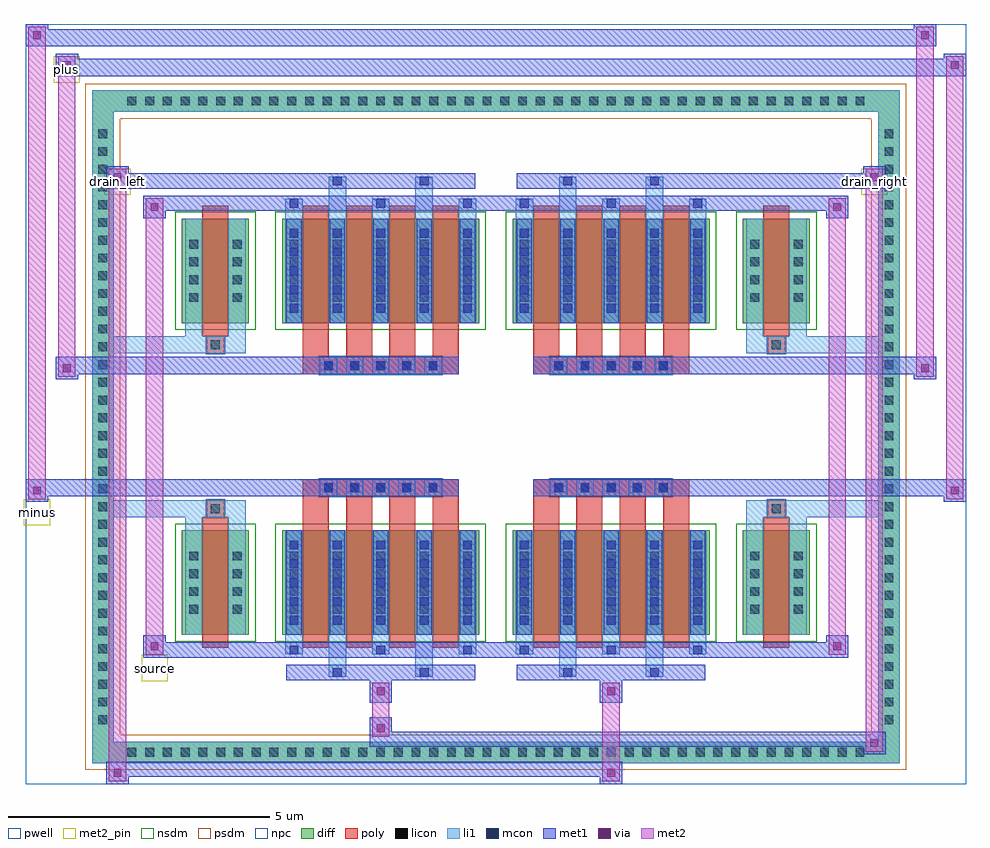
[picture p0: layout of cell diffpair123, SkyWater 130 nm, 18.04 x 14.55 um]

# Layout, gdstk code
import gdstk
lib = gdstk.Library(unit=1e-6, precision=5e-09)
def R(c, l, rs):  # rectangles x0, y0, x1, y1
    for r in rs: c.add(gdstk.rectangle(r[:2], r[2:], *l))
def A(c, l, x, y, w, h, nx, ny, dx, dy):  # array of equal rectangles
    R(c, l, [(x+i*dx, y+j*dy, x+i*dx+w, y+j*dy+h) for i in range(nx) for j in range(ny)])
def P(c, l, *ps):  # polygons
    for p in ps: c.add(gdstk.Polygon(p, *l))
pwell = (64, 44)
diff = (65, 20)
poly = (66, 20)
licon = (66, 44)
li1 = (67, 20)
mcon = (67, 44)
met1 = (68, 20)
via = (68, 44)
met2_pin = (69, 16)
met2 = (69, 20)
nsdm = (93, 44)
psdm = (94, 20)
npc = (95, 20)

diffpair123 = lib.new_cell('diffpair123')
R(diffpair123, pwell, [(-9,-6.84,9,7.71), (-6.32,-5.03,-0.01,-0.805), (0.01,-5.03,6.32,-0.805), (-6.32,0.805,-0.01,5.03), (0.01,0.805,6.32,5.03)])
A(diffpair123, diff, -7.175, -6.44, 0.41, 0.41, 42, 2, 0.34, 12.47)
A(diffpair123, diff, -7.73, -5.815, 0.41, 0.41, 1, 34, 0, 0.34)
A(diffpair123, diff, 7.32, -5.815, 0.41, 0.41, 1, 34, 0, 0.34)
R(diffpair123, diff, [(-7.175,-6.44,7.175,-6.03), (-7.73,-5.815,-7.32,5.815), (7.32,-5.815,7.73,5.815), (-6.01,-3.985,-4.73,-1.985), (-4.09,-3.985,-0.32,-1.985), (0.32,-3.985,4.09,-1.985), (4.73,-3.985,6.01,-1.985), (-6.01,1.985,-4.73,3.985), (-4.09,1.985,-0.32,3.985), (0.32,1.985,4.09,3.985), (4.73,1.985,6.01,3.985), (-7.175,6.03,7.175,6.44)])
P(diffpair123, diff, [(7.73,6.44),(-7.73,6.44),(-7.73,-6.03),(-7.32,-6.03),(-7.32,6.03),(7.32,6.03),(7.32,-6.03),(-7.32,-6.03),(-7.73,-6.03),(-7.73,-6.44),(7.73,-6.44)])
A(diffpair123, poly, -3.7, -4.235, 0.5, 2.5, 4, 2, 0.83, 5.97)
A(diffpair123, poly, 0.71, -4.235, 0.5, 2.5, 4, 2, 0.83, 5.97)
A(diffpair123, poly, -3.7, -1.735, 0.5, 0.4, 4, 2, 0.83, 3.07)
A(diffpair123, poly, 0.71, -1.735, 0.5, 0.4, 4, 2, 0.83, 3.07)
A(diffpair123, poly, -3.37, -1.335, 0.33, 0.33, 5, 2, 0.5, 2.34)
A(diffpair123, poly, 1.04, -1.335, 0.33, 0.33, 5, 2, 0.5, 2.34)
R(diffpair123, poly, [(-5.62,-4.235,-5.12,-1.735), (5.12,-4.235,5.62,-1.735), (-5.535,-1.735,-5.205,-1.405), (-5.535,-1.735,-5.205,-1.405), (5.205,-1.735,5.535,-1.405), (5.205,-1.735,5.535,-1.405), (-3.7,-1.335,-0.71,-1.005), (0.71,-1.335,3.7,-1.005), (-3.7,1.005,-0.71,1.335), (0.71,1.005,3.7,1.335), (-5.535,1.405,-5.205,1.735), (-5.535,1.405,-5.205,1.735), (5.205,1.405,5.535,1.735), (5.205,1.405,5.535,1.735), (-5.62,1.735,-5.12,4.235), (5.12,1.735,5.62,4.235)])
A(diffpair123, licon, -7.055, -6.32, 0.17, 0.17, 42, 2, 0.34, 12.47)
A(diffpair123, licon, -7.61, -5.695, 0.17, 0.17, 1, 34, 0, 0.34)
A(diffpair123, licon, 7.44, -5.695, 0.17, 0.17, 1, 34, 0, 0.34)
A(diffpair123, licon, -5.87, -3.58, 0.17, 0.17, 1, 4, 0, 0.34)
A(diffpair123, licon, -5.04, -3.58, 0.17, 0.17, 1, 4, 0, 0.34)
A(diffpair123, licon, -3.95, -3.58, 0.17, 0.17, 5, 4, 0.83, 0.34)
A(diffpair123, licon, 0.46, -3.58, 0.17, 0.17, 5, 4, 0.83, 0.34)
A(diffpair123, licon, 4.87, -3.58, 0.17, 0.17, 1, 4, 0, 0.34)
A(diffpair123, licon, 5.7, -3.58, 0.17, 0.17, 1, 4, 0, 0.34)
A(diffpair123, licon, -3.29, -1.255, 0.17, 0.17, 5, 2, 0.5, 2.34)
A(diffpair123, licon, 1.12, -1.255, 0.17, 0.17, 5, 2, 0.5, 2.34)
A(diffpair123, licon, -5.87, 2.39, 0.17, 0.17, 1, 4, 0, 0.34)
A(diffpair123, licon, -5.04, 2.39, 0.17, 0.17, 1, 4, 0, 0.34)
A(diffpair123, licon, -3.95, 2.39, 0.17, 0.17, 5, 4, 0.83, 0.34)
A(diffpair123, licon, 0.46, 2.39, 0.17, 0.17, 5, 4, 0.83, 0.34)
A(diffpair123, licon, 4.87, 2.39, 0.17, 0.17, 1, 4, 0, 0.34)
A(diffpair123, licon, 5.7, 2.39, 0.17, 0.17, 1, 4, 0, 0.34)
R(diffpair123, licon, [(-5.455,-1.655,-5.285,-1.485), (5.285,-1.655,5.455,-1.485), (-5.455,1.485,-5.285,1.655), (5.285,1.485,5.455,1.655)])
A(diffpair123, li1, -7.135, -6.4, 0.33, 0.33, 42, 2, 0.34, 12.47)
A(diffpair123, li1, -7.69, -5.775, 0.33, 0.33, 1, 34, 0, 0.34)
A(diffpair123, li1, 7.36, -5.775, 0.33, 0.33, 1, 34, 0, 0.34)
A(diffpair123, li1, -4.03, -4.36, 0.33, 0.375, 3, 2, 1.66, 8.345)
A(diffpair123, li1, -3.95, -4.36, 0.17, 0.17, 3, 2, 1.66, 8.55)
A(diffpair123, li1, 0.38, -4.36, 0.33, 0.375, 3, 2, 1.66, 8.345)
A(diffpair123, li1, 0.46, -4.36, 0.17, 0.17, 3, 2, 1.66, 8.55)
A(diffpair123, li1, -4.03, -3.985, 0.33, 2, 5, 2, 0.83, 5.97)
A(diffpair123, li1, 0.38, -3.985, 0.33, 2, 5, 2, 0.83, 5.97)
A(diffpair123, li1, -3.95, -3.79, 0.17, 0.17, 5, 5, 0.83, 0.36)
A(diffpair123, li1, -3.95, -3.79, 0.17, 1.61, 5, 2, 0.83, 5.97)
A(diffpair123, li1, 0.46, -3.79, 0.17, 0.17, 5, 5, 0.83, 0.36)
A(diffpair123, li1, 0.46, -3.79, 0.17, 1.61, 5, 2, 0.83, 5.97)
A(diffpair123, li1, -5.95, -3.66, 0.33, 0.33, 1, 4, 0, 0.34)
A(diffpair123, li1, -5.12, -3.66, 0.33, 0.33, 1, 4, 0, 0.34)
A(diffpair123, li1, -4.03, -3.66, 0.33, 0.33, 5, 4, 0.83, 0.34)
A(diffpair123, li1, 0.38, -3.66, 0.33, 0.33, 5, 4, 0.83, 0.34)
A(diffpair123, li1, 4.79, -3.66, 0.33, 0.33, 1, 4, 0, 0.34)
A(diffpair123, li1, 5.62, -3.66, 0.33, 0.33, 1, 4, 0, 0.34)
A(diffpair123, li1, -3.37, -1.335, 0.33, 0.33, 5, 2, 0.5, 2.34)
A(diffpair123, li1, 1.04, -1.335, 0.33, 0.33, 5, 2, 0.5, 2.34)
A(diffpair123, li1, -3.95, 2.18, 0.17, 0.17, 5, 5, 0.83, 0.36)
A(diffpair123, li1, 0.46, 2.18, 0.17, 0.17, 5, 5, 0.83, 0.36)
A(diffpair123, li1, -5.95, 2.31, 0.33, 0.33, 1, 4, 0, 0.34)
A(diffpair123, li1, -5.12, 2.31, 0.33, 0.33, 1, 4, 0, 0.34)
A(diffpair123, li1, -4.03, 2.31, 0.33, 0.33, 5, 4, 0.83, 0.34)
A(diffpair123, li1, 0.38, 2.31, 0.33, 0.33, 5, 4, 0.83, 0.34)
A(diffpair123, li1, 4.79, 2.31, 0.33, 0.33, 1, 4, 0, 0.34)
A(diffpair123, li1, 5.62, 2.31, 0.33, 0.33, 1, 4, 0, 0.34)
R(diffpair123, li1, [(-7.73,-6.44,-7.32,-6.03), (-7.73,-6.44,-7.32,-6.03), (-7.32,-6.44,7.32,-6.03), (7.32,-6.44,7.73,-6.03), (7.32,-6.44,7.73,-6.03), (-7.73,-6.03,-7.32,6.03), (7.32,-6.03,7.73,6.03), (-3.2,-4.79,-2.87,-3.985), (-3.12,-4.79,-2.95,-4.62), (-1.54,-4.79,-1.21,-3.985), (-1.46,-4.79,-1.29,-4.62), (1.21,-4.79,1.54,-3.985), (1.29,-4.79,1.46,-4.62), (2.87,-4.79,3.2,-3.985), (2.95,-4.79,3.12,-4.62), (-5.95,-3.985,-5.62,-1.985), (-5.12,-3.985,-4.79,-1.985), (4.79,-3.985,5.12,-1.985), (5.62,-3.985,5.95,-1.985), (-5.95,-1.985,-5.62,-1.405), (-5.12,-1.985,-4.79,-1.405), (4.79,-1.985,5.12,-1.405), (5.62,-1.985,5.95,-1.405), (-7.73,-1.735,-5.535,-1.405), (-5.95,-1.735,-5.535,-1.405), (-5.535,-1.735,-5.205,-1.405), (-5.205,-1.735,-4.79,-1.405), (4.79,-1.735,5.205,-1.405), (5.205,-1.735,5.535,-1.405), (5.205,-1.735,7.73,-1.405), (5.535,-1.735,5.95,-1.405), (-7.73,1.405,-5.535,1.735), (-5.95,1.405,-5.535,1.735), (-5.95,1.405,-5.62,1.985), (-5.535,1.405,-5.205,1.735), (-5.205,1.405,-4.79,1.735), (-5.12,1.405,-4.79,1.985), (4.79,1.405,5.205,1.735), (4.79,1.405,5.12,1.985), (5.205,1.405,5.535,1.735), (5.205,1.405,7.73,1.735), (5.535,1.405,5.95,1.735), (5.62,1.405,5.95,1.985), (-5.95,1.985,-5.62,3.985), (-5.12,1.985,-4.79,3.985), (4.79,1.985,5.12,3.985), (5.62,1.985,5.95,3.985), (-3.2,3.985,-2.87,4.79), (-1.54,3.985,-1.21,4.79), (1.21,3.985,1.54,4.79), (2.87,3.985,3.2,4.79), (-3.12,4.62,-2.95,4.79), (-1.46,4.62,-1.29,4.79), (1.29,4.62,1.46,4.79), (2.95,4.62,3.12,4.79), (-7.73,6.03,-7.32,6.44), (-7.73,6.03,-7.32,6.44), (-7.32,6.03,7.32,6.44), (7.32,6.03,7.73,6.44), (7.32,6.03,7.73,6.44)])
A(diffpair123, mcon, -3.95, -4.36, 0.17, 0.17, 3, 2, 1.66, 8.55)
A(diffpair123, mcon, 0.46, -4.36, 0.17, 0.17, 3, 2, 1.66, 8.55)
A(diffpair123, mcon, -3.95, -3.79, 0.17, 0.17, 5, 5, 0.83, 0.36)
A(diffpair123, mcon, 0.46, -3.79, 0.17, 0.17, 5, 5, 0.83, 0.36)
A(diffpair123, mcon, -3.29, -1.255, 0.17, 0.17, 5, 2, 0.5, 2.34)
A(diffpair123, mcon, 1.12, -1.255, 0.17, 0.17, 5, 2, 0.5, 2.34)
A(diffpair123, mcon, -3.95, 2.18, 0.17, 0.17, 5, 5, 0.83, 0.36)
A(diffpair123, mcon, 0.46, 2.18, 0.17, 0.17, 5, 5, 0.83, 0.36)
R(diffpair123, mcon, [(-3.12,-4.79,-2.95,-4.62), (-1.46,-4.79,-1.29,-4.62), (1.29,-4.79,1.46,-4.62), (2.95,-4.79,3.12,-4.62), (-3.12,4.62,-2.95,4.79), (-1.46,4.62,-1.29,4.79), (1.29,4.62,1.46,4.79), (2.95,4.62,3.12,4.79)])
A(diffpair123, met1, -4.01, -4.42, 0.29, 0.29, 3, 2, 1.66, 8.55)
A(diffpair123, met1, 0.4, -4.42, 0.29, 0.29, 3, 2, 1.66, 8.55)
A(diffpair123, met1, -4.01, -3.985, 0.29, 2, 5, 2, 0.83, 5.97)
A(diffpair123, met1, 0.4, -3.985, 0.29, 2, 5, 2, 0.83, 5.97)
A(diffpair123, met1, -4.01, -3.85, 0.29, 0.29, 5, 5, 0.83, 0.36)
A(diffpair123, met1, 0.4, -3.85, 0.29, 0.29, 5, 5, 0.83, 0.36)
A(diffpair123, met1, -3.35, -1.315, 0.29, 0.29, 5, 2, 0.5, 2.34)
A(diffpair123, met1, 1.06, -1.315, 0.29, 0.29, 5, 2, 0.5, 2.34)
A(diffpair123, met1, -4.01, 2.12, 0.29, 0.29, 5, 5, 0.83, 0.36)
A(diffpair123, met1, 0.4, 2.12, 0.29, 0.29, 5, 5, 0.83, 0.36)
R(diffpair123, met1, [(-7.46,-6.84,-7.03,-6.41), (1.99,-6.84,2.42,-6.41), (-7.46,-6.7,2.42,-6.41), (7.03,-6.27,7.46,-5.84), (-2.42,-6.13,7.46,-5.84), (-2.42,-5.99,-1.99,-5.56), (-2.42,-5.28,-1.99,-4.85), (1.99,-5.28,2.42,-4.85), (-4.01,-4.85,-0.4,-4.56), (-3.18,-4.85,-2.89,-4.56), (-1.52,-4.85,-1.23,-4.56), (0.4,-4.85,4.01,-4.56), (1.23,-4.85,1.52,-4.56), (2.89,-4.85,3.18,-4.56), (-6.75,-4.42,-6.32,-3.99), (-6.75,-4.42,-4.01,-4.13), (-4.01,-4.42,-0.4,-4.13), (-0.4,-4.42,0.4,-4.13), (0.4,-4.42,4.01,-4.13), (4.01,-4.42,6.75,-4.13), (6.32,-4.42,6.75,-3.99), (-9,-1.435,-8.57,-1.005), (8.57,-1.435,9,-1.005), (-9,-1.335,-0.71,-1.005), (-3.7,-1.335,-0.71,-1.005), (0.71,-1.335,3.7,-1.005), (0.71,-1.335,9,-1.005), (-8.43,0.905,-8,1.335), (8,0.905,8.43,1.335), (-8.43,1.005,-3.7,1.335), (-3.7,1.005,-0.71,1.335), (0.71,1.005,3.7,1.335), (3.7,1.005,8.43,1.335), (-6.75,3.99,-6.32,4.42), (6.32,3.99,6.75,4.42), (-6.75,4.13,-4.01,4.42), (-4.01,4.13,-0.4,4.42), (-0.4,4.13,0.4,4.42), (0.4,4.13,4.01,4.42), (4.01,4.13,6.75,4.42), (-7.46,4.56,-7.03,4.99), (-7.46,4.56,-4.01,4.85), (-4.01,4.56,-0.4,4.85), (-3.18,4.56,-2.89,4.85), (-1.52,4.56,-1.23,4.85), (0.4,4.56,4.01,4.85), (1.23,4.56,1.52,4.85), (2.89,4.56,3.18,4.85), (4.01,4.56,7.46,4.85), (7.03,4.56,7.46,4.99), (-8.43,6.71,-8,7.14), (-8.43,6.71,-6.32,7.04), (-6.32,6.71,6.32,7.04), (6.32,6.71,9,7.04), (8.57,6.71,9,7.14), (-9,7.28,-8.57,7.71), (-9,7.28,-6.32,7.61), (-6.32,7.28,6.32,7.61), (6.32,7.28,8.43,7.61), (8,7.28,8.43,7.71)])
R(diffpair123, via, [(-7.32,-6.7,-7.17,-6.55), (2.13,-6.7,2.28,-6.55), (7.17,-6.13,7.32,-5.98), (-2.28,-5.85,-2.13,-5.7), (-2.28,-5.14,-2.13,-4.99), (2.13,-5.14,2.28,-4.99), (-6.61,-4.28,-6.46,-4.13), (6.46,-4.28,6.61,-4.13), (-8.86,-1.295,-8.71,-1.145), (8.71,-1.295,8.86,-1.145), (-8.29,1.045,-8.14,1.195), (8.14,1.045,8.29,1.195), (-6.61,4.13,-6.46,4.28), (6.46,4.13,6.61,4.28), (-7.32,4.7,-7.17,4.85), (7.17,4.7,7.32,4.85), (-8.29,6.85,-8.14,7), (8.71,6.85,8.86,7), (-8.86,7.42,-8.71,7.57), (8.14,7.42,8.29,7.57)])
R(diffpair123, met2_pin, [(-6.785,-4.87,-6.285,-4.37), (-9.035,-1.885,-8.535,-1.385), (-7.495,4.44,-6.995,4.94), (6.995,4.44,7.495,4.94), (-8.465,6.59,-7.965,7.09)])
R(diffpair123, met2, [(-7.41,-6.79,-7.08,-6.46), (-7.41,-6.79,-7.08,4.94), (2.04,-6.79,2.37,-6.46), (2.04,-6.46,2.37,-5.23), (7.08,-6.22,7.41,-5.89), (7.08,-6.22,7.41,4.94), (-2.37,-5.94,-2.04,-5.61), (-2.37,-5.61,-2.04,-5.23), (-2.37,-5.23,-2.04,-4.9), (2.04,-5.23,2.37,-4.9), (-6.7,-4.37,-6.37,-4.04), (-6.7,-4.37,-6.37,4.37), (6.37,-4.37,6.7,-4.04), (6.37,-4.37,6.7,4.37), (-8.95,-1.385,-8.62,-1.055), (-8.95,-1.385,-8.62,7.66), (8.62,-1.385,8.95,-1.055), (8.62,-1.385,8.95,7.09), (-8.38,0.955,-8.05,1.285), (-8.38,0.955,-8.05,7.09), (8.05,0.955,8.38,1.285), (8.05,0.955,8.38,7.66), (-6.7,4.04,-6.37,4.37), (6.37,4.04,6.7,4.37), (-7.41,4.61,-7.08,4.94), (7.08,4.61,7.41,4.94), (-8.38,6.76,-8.05,7.09), (8.62,6.76,8.95,7.09), (-8.95,7.33,-8.62,7.66), (8.05,7.33,8.38,7.66)])
P(diffpair123, met2, [(8.95,-1.385),(8.95,-1.385),(8.95,-1.055),(8.95,-1.055)],
  [(8.95,6.76),(8.95,6.76),(8.95,7.09),(8.95,7.09)],
  [(-8.62,-1.385),(-8.62,-1.385),(-8.62,-1.055),(-8.62,-1.055)],
  [(-8.62,7.33),(-8.62,7.33),(-8.62,7.66),(-8.62,7.66)],
  [(8.38,0.955),(8.38,0.955),(8.38,1.285),(8.38,1.285)],
  [(8.38,7.33),(8.38,7.33),(8.38,7.66),(8.38,7.66)],
  [(-8.05,0.955),(-8.05,0.955),(-8.05,1.285),(-8.05,1.285)],
  [(-8.05,6.76),(-8.05,6.76),(-8.05,7.09),(-8.05,7.09)],
  [(-7.08,-6.79),(-7.08,-6.79),(-7.08,-6.46),(-7.08,-6.46)],
  [(-7.08,4.61),(-7.08,4.61),(-7.08,4.94),(-7.08,4.94)],
  [(7.41,-6.22),(7.41,-6.22),(7.41,-5.89),(7.41,-5.89)],
  [(7.41,4.61),(7.41,4.61),(7.41,4.94),(7.41,4.94)],
  [(-6.37,-4.37),(-6.37,-4.37),(-6.37,-4.04),(-6.37,-4.04)],
  [(-6.37,4.04),(-6.37,4.04),(-6.37,4.37),(-6.37,4.37)],
  [(6.7,-4.37),(6.7,-4.37),(6.7,-4.04),(6.7,-4.04)],
  [(6.7,4.04),(6.7,4.04),(6.7,4.37),(6.7,4.37)])
R(diffpair123, nsdm, [(-6.14,-4.115,-4.6,-1.855), (-4.22,-4.115,-0.19,-1.855), (0.19,-4.115,4.22,-1.855), (4.6,-4.115,6.14,-1.855), (-6.14,1.855,-4.6,4.115), (-4.22,1.855,-0.19,4.115), (0.19,1.855,4.22,4.115), (4.6,1.855,6.14,4.115)])
P(diffpair123, psdm, [(7.86,6.57),(-7.86,6.57),(-7.86,-5.9),(-7.19,-5.9),(-7.19,5.9),(7.19,5.9),(7.19,-5.9),(-7.19,-5.9),(-7.86,-5.9),(-7.86,-6.57),(7.86,-6.57)])
A(diffpair123, npc, -3.39, -1.355, 0.37, 0.37, 5, 2, 0.5, 2.34)
A(diffpair123, npc, 1.02, -1.355, 0.37, 0.37, 5, 2, 0.5, 2.34)
R(diffpair123, npc, [(-5.555,-1.755,-5.185,-1.385), (5.185,-1.755,5.555,-1.385), (-3.39,-1.355,-2.52,-0.985), (-3.39,-1.355,-2.52,-0.985), (-2.89,-1.355,-2.02,-0.985), (-2.89,-1.355,-2.02,-0.985), (-2.39,-1.355,-1.52,-0.985), (-2.39,-1.355,-1.52,-0.985), (-1.89,-1.355,-1.02,-0.985), (-1.89,-1.355,-1.02,-0.985), (1.02,-1.355,1.89,-0.985), (1.02,-1.355,1.89,-0.985), (1.52,-1.355,2.39,-0.985), (1.52,-1.355,2.39,-0.985), (2.02,-1.355,2.89,-0.985), (2.02,-1.355,2.89,-0.985), (2.52,-1.355,3.39,-0.985), (2.52,-1.355,3.39,-0.985), (-3.39,0.985,-2.52,1.355), (-3.39,0.985,-2.52,1.355), (-2.89,0.985,-2.02,1.355), (-2.89,0.985,-2.02,1.355), (-2.39,0.985,-1.52,1.355), (-2.39,0.985,-1.52,1.355), (-1.89,0.985,-1.02,1.355), (-1.89,0.985,-1.02,1.355), (1.02,0.985,1.89,1.355), (1.02,0.985,1.89,1.355), (1.52,0.985,2.39,1.355), (1.52,0.985,2.39,1.355), (2.02,0.985,2.89,1.355), (2.02,0.985,2.89,1.355), (2.52,0.985,3.39,1.355), (2.52,0.985,3.39,1.355), (-5.555,1.385,-5.185,1.755), (5.185,1.385,5.555,1.755)])
diffpair123.add(gdstk.Label('minus', (-8.785,-1.635), layer=69, texttype=5))
diffpair123.add(gdstk.Label('drain_right', (7.245,4.69), layer=69, texttype=5))
diffpair123.add(gdstk.Label('drain_left', (-7.245,4.69), layer=69, texttype=5))
diffpair123.add(gdstk.Label('source', (-6.535,-4.62), layer=69, texttype=5))
diffpair123.add(gdstk.Label('plus', (-8.215,6.84), layer=69, texttype=5))

lib.write_gds('diffpair123.gds')
